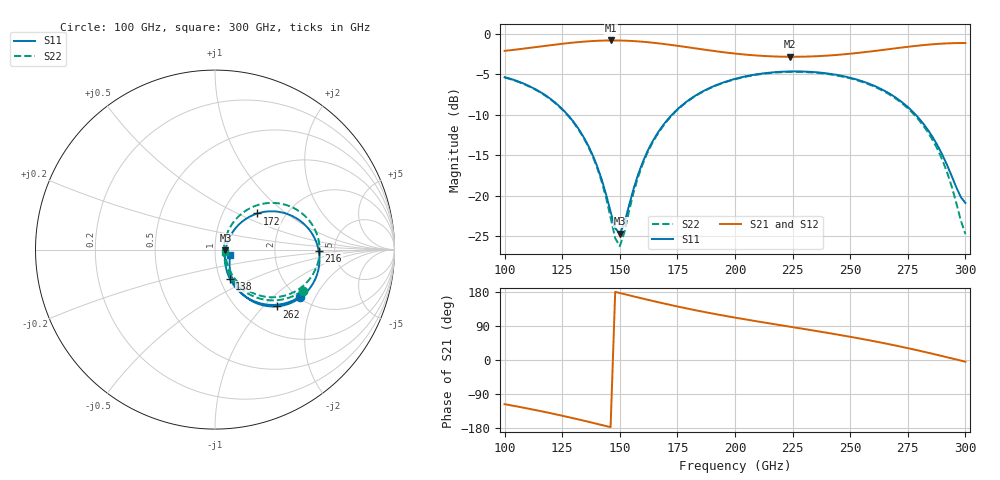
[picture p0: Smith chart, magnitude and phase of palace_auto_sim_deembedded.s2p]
! Created with skrf 1.11.0 (http://scikit-rf.org).
# GHz S DB R 50.0
!freq dBS11 angS11 dBS21 angS21 dBS12 angS12 dBS22 angS22
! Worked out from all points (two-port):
!   101 points, 100 GHz to 300 GHz, reference 50 ohm
!   highest |S21| = -0.81 dB at 146 GHz (marker M1); lowest = -2.8 dB at 224 GHz (marker M2)
!   |S21| within 3 dB of the highest: start of sweep to end of sweep
!   lowest |S11| = -24.7 dB at 150 GHz (marker M3), VSWR 1.12, Z = 56.2 - j0.404 ohm
!   |S11| at or under -10 dB: 127.4 GHz to 172.6 GHz (45.14 GHz wide, 30.1 % of centre); 278.5 GHz to end of sweep
!   |S22| runs from -26.2 to -4.7 dB; largest |S21 - S12| = 1.5e-14
!   S11 on the Smith chart (normalised r, x): 100 GHz: 2.05, -1.52; 138 GHz: 1.11, -0.37; 172 GHz: 1.45, +0.65; 216 GHz: 3.74, -0.09; 262 GHz: 1.47, -1.19; 300 GHz: 1.18, -0.07
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100  -5.33 -28.9  -2.09 -116.6  -2.09 -116.6  -5.38 -25.1
120  -8.04 -49.4  -1.39 -140.4  -1.39 -140.4  -8.09 -45.1
134  -12.58 -61.8  -0.96 -159.6  -0.96 -159.6  -12.68 -58.0
138  -14.81 -63.0  -0.88 -165.4  -0.88 -165.4  -14.95 -59.7
142  -17.83 -60.4  -0.83 -171.3  -0.83 -171.3  -18.10 -57.9
146  -21.94 -46.3  -0.81 -177.2  -0.81 -177.2  -22.65 -45.1
148  -23.98 -28.9  -0.81 179.8  -0.81 179.8  -25.20 -26.8
150  -24.66 -3.5  -0.82 176.8  -0.82 176.8  -26.19 3.3
158  -17.30 44.7  -0.92 164.9  -0.92 164.9  -17.61 55.0
168  -11.57 43.7  -1.20 150.7  -1.20 150.7  -11.68 52.8
172  -10.17 40.5  -1.35 145.2  -1.35 145.2  -10.26 49.4
184  -7.41 29.1  -1.83 129.9  -1.83 129.9  -7.47 37.9
200  -5.55 13.8  -2.43 111.9  -2.43 111.9  -5.60 22.6
216  -4.76 -0.8  -2.77 95.6  -2.77 95.6  -4.81 8.2
224  -4.63 -7.9  -2.82 87.7  -2.82 87.7  -4.69 1.1
234  -4.71 -16.8  -2.77 77.8  -2.77 77.8  -4.77 -7.7
262  -6.60 -42.6  -2.05 47.6  -2.05 47.6  -6.70 -33.9
268  -7.53 -48.2  -1.84 40.3  -1.84 40.3  -7.65 -39.8
278  -9.85 -56.5  -1.49 27.2  -1.49 27.2  -10.04 -49.4
286  -12.83 -60.0  -1.28 16.0  -1.28 16.0  -13.21 -55.2
292  -16.15 -56.1  -1.17 7.3  -1.17 7.3  -17.03 -54.6
300  -20.86 -19.2  -1.12 -4.5  -1.12 -4.5  -24.69 -12.1
